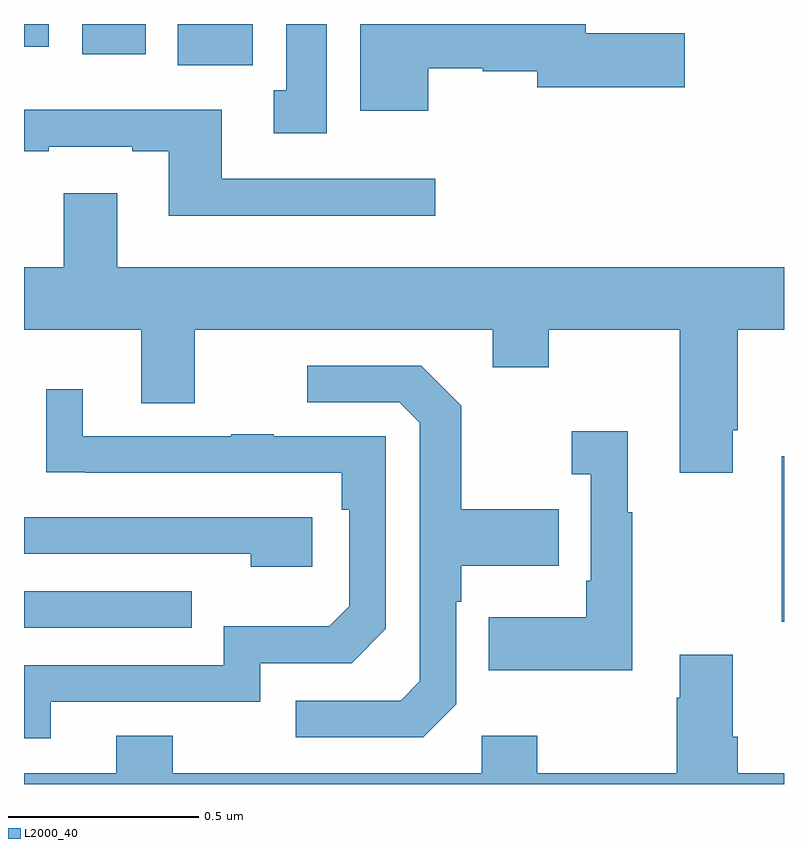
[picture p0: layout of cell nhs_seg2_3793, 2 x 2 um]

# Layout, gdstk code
import gdstk
lib = gdstk.Library(unit=1e-6, precision=1e-09)
def R(c, l, rs):  # rectangles x0, y0, x1, y1
    for r in rs: c.add(gdstk.rectangle(r[:2], r[2:], *l))
def P(c, l, *ps):  # polygons
    for p in ps: c.add(gdstk.Polygon(p, *l))
L2000_40 = (2000, 40)

nhs_seg2_3793 = lib.new_cell('nhs_seg2_3793')
R(nhs_seg2_3793, L2000_40, [(158,620.211,158.441,620.307), (159.994,620.227,160,620.662), (158.405,621.692,158.602,621.8), (158.153,621.72,158.32,621.8), (158,621.74,158.065,621.8)])
P(nhs_seg2_3793, L2000_40, [(158.797,621.8),(158.69,621.8),(158.69,621.626),(158.657,621.626),(158.657,621.513),(158.797,621.513)],
  [(159.064,621.684),(159.207,621.684),(159.207,621.676),(159.35,621.676),(159.35,621.634),(159.739,621.634),(159.739,621.776),(159.478,621.776),(159.478,621.8),(158.885,621.8),(158.885,621.572),(159.064,621.572)],
  [(159.082,621.393),(158.521,621.393),(158.521,621.574),(158,621.574),(158,621.465),(158.065,621.465),(158.065,621.477),(158.285,621.477),(158.285,621.465),(158.381,621.465),(158.381,621.296),(159.082,621.296)],
  [(159.865,620.731),(159.878,620.731),(159.878,620.996),(160,620.996),(160,621.16),(158.245,621.16),(158.245,621.355),(158.105,621.355),(158.105,621.16),(158,621.16),(158,620.996),(158.309,620.996),(158.309,620.802),(158.449,620.802),(158.449,620.996),(159.233,620.996),(159.233,620.897),(159.381,620.897),(159.381,620.996),(159.725,620.996),(159.725,620.619),(159.865,620.619)],
  [(159.138,620.01),(159.138,620.279),(159.151,620.279),(159.151,620.375),(159.407,620.375),(159.407,620.523),(159.151,620.523),(159.151,620.795),(159.045,620.901),(158.745,620.901),(158.745,620.805),(158.988,620.805),(159.042,620.751),(159.042,620.07),(158.991,620.019),(158.715,620.019),(158.715,619.923),(159.051,619.923)],
  [(158.071,620.016),(158.622,620.016),(158.622,620.118),(158.862,620.118),(158.952,620.208),(158.952,620.715),(158.657,620.715),(158.657,620.72),(158.545,620.72),(158.545,620.715),(158.155,620.715),(158.155,620.839),(158.059,620.839),(158.059,620.62),(158.161,620.62),(158.161,620.619),(158.836,620.619),(158.836,620.522),(158.856,620.522),(158.856,620.268),(158.803,620.215),(158.526,620.215),(158.526,620.112),(158,620.112),(158,619.92),(158.071,619.92)],
  [(159.601,620.515),(159.589,620.515),(159.589,620.728),(159.441,620.728),(159.441,620.615),(159.492,620.615),(159.492,620.335),(159.48,620.335),(159.48,620.239),(159.223,620.239),(159.223,620.099),(159.601,620.099)],
  [(158.758,620.502),(158,620.502),(158,620.406),(158.597,620.406),(158.597,620.372),(158.758,620.372)],
  [(160,619.828),(159.878,619.828),(159.878,619.924),(159.865,619.924),(159.865,620.14),(159.725,620.14),(159.725,620.027),(159.718,620.027),(159.718,619.828),(159.351,619.828),(159.351,619.927),(159.204,619.927),(159.204,619.828),(158.391,619.828),(158.391,619.927),(158.243,619.927),(158.243,619.828),(158,619.828),(158,619.8),(160,619.8)])

lib.write_gds('nhs_seg2_3793.gds')
